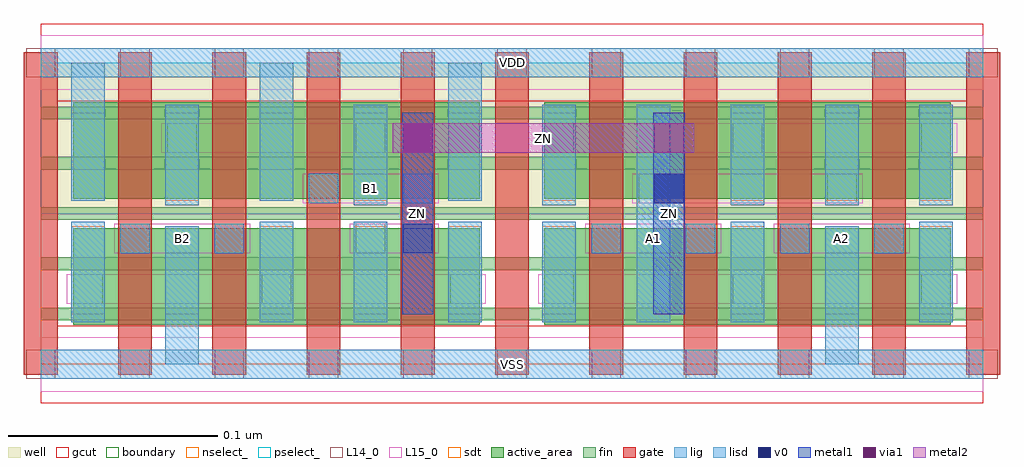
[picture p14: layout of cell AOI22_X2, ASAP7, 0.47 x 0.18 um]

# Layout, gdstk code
import gdstk
lib = gdstk.Library(unit=1e-6, precision=2.5e-10)
def R(c, l, rs):  # rectangles x0, y0, x1, y1
    for r in rs: c.add(gdstk.rectangle(r[:2], r[2:], *l))
def A(c, l, x, y, w, h, nx, ny, dx, dy):  # array of equal rectangles
    R(c, l, [(x+i*dx, y+j*dy, x+i*dx+w, y+j*dy+h) for i in range(nx) for j in range(ny)])
well = (1, 0)
fin = (2, 0)
gate = (7, 0)
gcut = (10, 0)
active_area = (11, 0)
nselect_ = (12, 0)
pselect_ = (13, 0)
L14_0 = (14, 0)
L15_0 = (15, 0)
lig = (16, 0)
lisd = (17, 0)
v0 = (18, 0)
metal1 = (19, 0)
metal2 = (20, 0)
via1 = (21, 0)
sdt = (88, 0)
boundary = (100, 0)

aoi22_x2 = lib.new_cell('AOI22_X2')
R(aoi22_x2, well, [(0,0.072,0.45,0.144)])
A(aoi22_x2, fin, 0, 0.021, 0.45, 0.006, 1, 5, 0, 0.024)
A(aoi22_x2, gate, -0.008, -0.005, 0.016, 0.154, 11, 1, 0.045, 0)
R(aoi22_x2, gcut, [(0,-0.0185,0.45,0.0185), (-0.008,-0.005,0.008,0.149), (0.442,-0.005,0.458,0.149), (0,0.1255,0.45,0.1625)])
A(aoi22_x2, active_area, 0.0155, 0.019, 0.059, 0.046, 4, 2, 0.045, 0.06)
A(aoi22_x2, active_area, 0.2405, 0.019, 0.059, 0.046, 4, 2, 0.045, 0.06)
R(aoi22_x2, nselect_, [(0,0,0.45,0.072)])
R(aoi22_x2, pselect_, [(0,0.072,0.45,0.144)])
A(aoi22_x2, L14_0, -0.007, -0.007, 0.014, 0.014, 11, 2, 0.045, 0.144)
A(aoi22_x2, L14_0, 0.0155, 0.029, 0.014, 0.014, 3, 1, 0.09, 0)
A(aoi22_x2, L14_0, 0.2405, 0.029, 0.014, 0.014, 3, 1, 0.09, 0)
A(aoi22_x2, L14_0, 0.263, 0.053, 0.014, 0.014, 4, 1, 0.045, 0)
A(aoi22_x2, L14_0, 0.0605, 0.101, 0.014, 0.014, 5, 1, 0.09, 0)
R(aoi22_x2, L14_0, [(0.038,0.053,0.052,0.067), (0.083,0.053,0.097,0.067), (0.1505,0.053,0.1645,0.067), (0.128,0.077,0.142,0.091), (0.173,0.077,0.187,0.091), (0.2855,0.077,0.2995,0.091), (0.3755,0.077,0.3895,0.091)])
R(aoi22_x2, L15_0, [(0,-0.013,0.45,0.013), (0.0125,0.029,0.2125,0.043), (0.2375,0.029,0.4375,0.043), (0.035,0.053,0.1,0.067), (0.1475,0.053,0.19,0.067), (0.26,0.053,0.325,0.067), (0.35,0.053,0.415,0.067), (0.125,0.077,0.19,0.091), (0.2825,0.077,0.3925,0.091), (0.0575,0.101,0.4375,0.115), (0,0.131,0.45,0.157)])
A(aoi22_x2, lig, 0.263, 0.053, 0.014, 0.014, 4, 1, 0.045, 0)
R(aoi22_x2, lig, [(0,-0.007,0.45,0.007), (0.038,0.053,0.052,0.067), (0.083,0.053,0.097,0.067), (0.128,0.077,0.142,0.091), (0.173,0.077,0.187,0.091), (0,0.137,0.45,0.151)])
A(aoi22_x2, lisd, 0.1495, 0.02, 0.016, 0.048, 3, 1, 0.045, 0)
A(aoi22_x2, lisd, 0.1495, 0.076, 0.016, 0.048, 3, 1, 0.09, 0)
R(aoi22_x2, lisd, [(0.0595,0,0.0755,0.066), (0.0595,0,0.0755,0.066), (0.3745,0,0.3905,0.066), (0.3745,0,0.3905,0.066), (0.0145,0.02,0.0305,0.068), (0.1045,0.02,0.1205,0.068), (0.1045,0.02,0.1205,0.068), (0.1495,0.02,0.1655,0.068), (0.2845,0.02,0.3005,0.124), (0.2845,0.02,0.3005,0.124), (0.3295,0.02,0.3455,0.068), (0.3295,0.02,0.3455,0.068), (0.4195,0.02,0.4355,0.068), (0.0595,0.076,0.0755,0.124), (0.0595,0.076,0.0755,0.124), (0.1495,0.076,0.1655,0.124), (0.3295,0.076,0.3455,0.124), (0.3745,0.076,0.3905,0.124), (0.3745,0.076,0.3905,0.124), (0.4195,0.076,0.4355,0.124), (0.0145,0.078,0.0305,0.144), (0.1045,0.078,0.1205,0.144), (0.1045,0.078,0.1205,0.144), (0.1945,0.078,0.2105,0.144)])
R(aoi22_x2, v0, [(0.173,0.053,0.187,0.067), (0.293,0.077,0.307,0.091)])
R(aoi22_x2, metal1, [(0.1725,0.024,0.1875,0.12), (0.2925,0.024,0.3075,0.12)])
R(aoi22_x2, metal2, [(0.168,0.101,0.312,0.115)])
R(aoi22_x2, via1, [(0.173,0.101,0.187,0.115), (0.293,0.101,0.307,0.115)])
A(aoi22_x2, sdt, 0.1495, 0.024, 0.016, 0.042, 3, 2, 0.045, 0.054)
R(aoi22_x2, sdt, [(0.2845,0.02,0.3005,0.124), (0.2845,0.02,0.3005,0.124), (0.0145,0.024,0.0305,0.066), (0.0595,0.024,0.0755,0.066), (0.0595,0.024,0.0755,0.066), (0.1045,0.024,0.1205,0.066), (0.1045,0.024,0.1205,0.066), (0.1495,0.024,0.1655,0.066), (0.3295,0.024,0.3455,0.066), (0.3295,0.024,0.3455,0.066), (0.3745,0.024,0.3905,0.066), (0.3745,0.024,0.3905,0.066), (0.4195,0.024,0.4355,0.066), (0.0145,0.078,0.0305,0.12), (0.0595,0.078,0.0755,0.12), (0.0595,0.078,0.0755,0.12), (0.1045,0.078,0.1205,0.12), (0.1045,0.078,0.1205,0.12), (0.1495,0.078,0.1655,0.12), (0.3295,0.078,0.3455,0.12), (0.3295,0.078,0.3455,0.12), (0.3745,0.078,0.3905,0.12), (0.3745,0.078,0.3905,0.12), (0.4195,0.078,0.4355,0.12)])
R(aoi22_x2, boundary, [(0,0,0.45,0.144)])
aoi22_x2.add(gdstk.Label('VDD', (0.225,0.144), layer=1, texttype=251))
aoi22_x2.add(gdstk.Label('VSS', (0.225,0), layer=3, texttype=251))
aoi22_x2.add(gdstk.Label('B2', (0.0675,0.06), layer=15, texttype=251))
aoi22_x2.add(gdstk.Label('B1', (0.1575,0.084), layer=15, texttype=251))
aoi22_x2.add(gdstk.Label('A1', (0.2925,0.06), layer=15, texttype=251))
aoi22_x2.add(gdstk.Label('A2', (0.3825,0.06), layer=15, texttype=251))
aoi22_x2.add(gdstk.Label('VSS', (0.225,0), layer=15, texttype=251))
aoi22_x2.add(gdstk.Label('VDD', (0.225,0.144), layer=15, texttype=251))
aoi22_x2.add(gdstk.Label('ZN', (0.18,0.072), layer=19, texttype=251))
aoi22_x2.add(gdstk.Label('ZN', (0.3,0.072), layer=19, texttype=251))
aoi22_x2.add(gdstk.Label('ZN', (0.24,0.108), layer=20, texttype=251))

lib.write_gds('AOI22_X2.gds')
